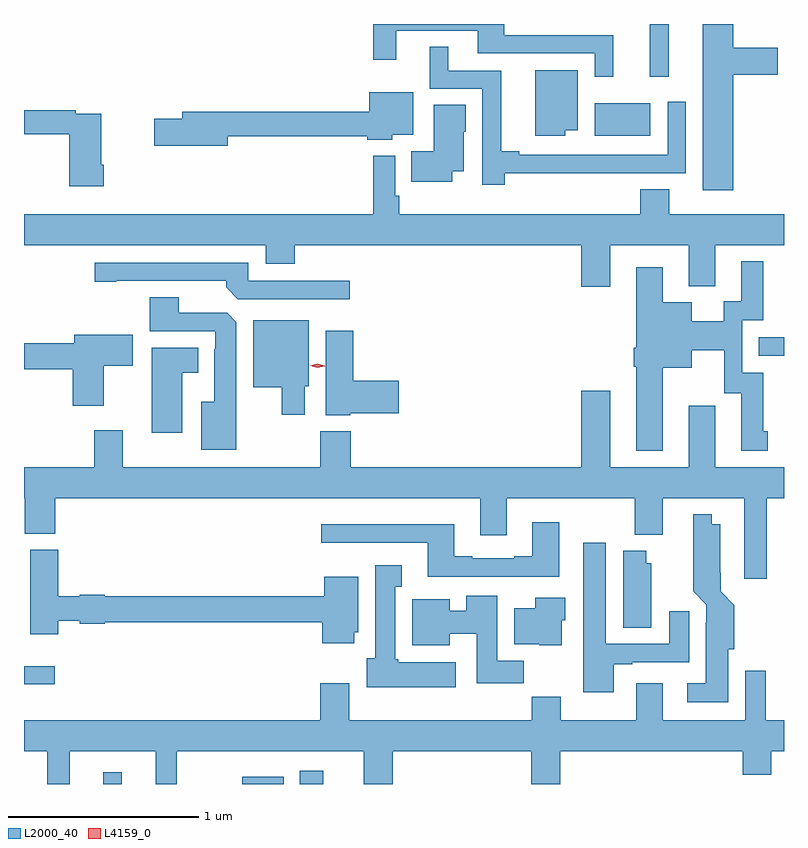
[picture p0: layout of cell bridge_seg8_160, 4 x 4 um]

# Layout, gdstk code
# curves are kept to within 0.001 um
import gdstk
lib = gdstk.Library(unit=1e-6, precision=1e-09)
def R(c, l, rs):  # rectangles x0, y0, x1, y1
    for r in rs: c.add(gdstk.rectangle(r[:2], r[2:], *l))
def P(c, l, *ps):  # polygons
    for p in ps: c.add(gdstk.Polygon(p, *l))
L2000_40 = (2000, 40)
L4159_0 = (4159, 0)

bridge_seg8_160 = lib.new_cell('bridge_seg8_160')
R(bridge_seg8_160, L2000_40, [(531.59,1146.964,531.687,1147.027), (532.321,1146.964,532.54,1147.003), (532.625,1146.964,532.747,1147.033), (531.173,1147.488,531.334,1147.584), (535.039,1149.219,535.173,1149.315), (534.176,1150.376,534.469,1150.546), (534.467,1150.686,534.566,1150.964)])
P(bridge_seg8_160, L2000_40, [(534.275,1150.905),(533.701,1150.905),(533.701,1150.964),(533.01,1150.964),(533.01,1150.776),(533.131,1150.776),(533.131,1150.928),(533.561,1150.928),(533.561,1150.809),(534.177,1150.809),(534.177,1150.686),(534.275,1150.686)],
  [(534.905,1150.697),(535.141,1150.697),(535.141,1150.839),(534.905,1150.839),(534.905,1150.964),(534.746,1150.964),(534.746,1150.089),(534.905,1150.089)],
  [(533.702,1150.178),(534.332,1150.178),(534.332,1150.179),(534.657,1150.179),(534.657,1150.555),(534.561,1150.555),(534.561,1150.275),(533.779,1150.275),(533.779,1150.295),(533.684,1150.295),(533.684,1150.719),(533.407,1150.719),(533.407,1150.843),(533.309,1150.843),(533.309,1150.623),(533.586,1150.623),(533.586,1150.119),(533.702,1150.119)],
  [(534.022,1150.406),(534.088,1150.406),(534.088,1150.72),(533.864,1150.72),(533.864,1150.376),(534.022,1150.376)],
  [(532.246,1150.374),(532.979,1150.374),(532.979,1150.355),(533.112,1150.355),(533.112,1150.382),(533.221,1150.382),(533.221,1150.606),(532.991,1150.606),(532.991,1150.502),(532.007,1150.502),(532.007,1150.466),(531.858,1150.466),(531.858,1150.324),(532.246,1150.324)],
  [(533.428,1150.19),(533.488,1150.19),(533.488,1150.398),(533.497,1150.398),(533.497,1150.538),(533.33,1150.538),(533.33,1150.294),(533.212,1150.294),(533.212,1150.133),(533.428,1150.133)],
  [(531.593,1150.222),(531.58,1150.222),(531.58,1150.491),(531.446,1150.491),(531.446,1150.511),(531.173,1150.511),(531.173,1150.383),(531.41,1150.383),(531.41,1150.11),(531.593,1150.11)],
  [(534.259,1149.8),(534.671,1149.8),(534.671,1149.584),(534.811,1149.584),(534.811,1149.8),(535.173,1149.8),(535.173,1149.964),(534.568,1149.964),(534.568,1150.094),(534.416,1150.094),(534.416,1149.964),(533.147,1149.964),(533.147,1150.06),(533.127,1150.06),(533.127,1150.27),(533.011,1150.27),(533.011,1149.964),(531.173,1149.964),(531.173,1149.8),(532.445,1149.8),(532.445,1149.701),(532.598,1149.701),(532.598,1149.8),(534.107,1149.8),(534.107,1149.582),(534.259,1149.582)],
  [(534.535,1149.155),(534.688,1149.155),(534.688,1149.248),(534.858,1149.248),(534.858,1149.021),(534.947,1149.021),(534.947,1148.718),(535.087,1148.718),(535.087,1148.82),(535.063,1148.82),(535.063,1149.129),(534.954,1149.129),(534.954,1149.405),(535.063,1149.405),(535.063,1149.715),(534.947,1149.715),(534.947,1149.506),(534.857,1149.506),(534.857,1149.4),(534.688,1149.4),(534.688,1149.499),(534.535,1149.499),(534.535,1149.685),(534.395,1149.685),(534.395,1149.259),(534.383,1149.259),(534.383,1149.159),(534.395,1149.159),(534.395,1148.717),(534.535,1148.717)],
  [(532.888,1149.612),(532.353,1149.612),(532.353,1149.708),(531.546,1149.708),(531.546,1149.607),(531.658,1149.607),(531.658,1149.612),(532.238,1149.612),(532.238,1149.578),(532.299,1149.516),(532.888,1149.516)],
  [(532.291,1149.395),(532.242,1149.444),(531.988,1149.444),(531.988,1149.527),(531.836,1149.527),(531.836,1149.348),(532.179,1149.348),(532.179,1149.251),(532.175,1149.251),(532.175,1148.977),(532.106,1148.977),(532.106,1148.723),(532.291,1148.723)],
  [(532.651,1149.057),(532.672,1149.057),(532.672,1149.406),(532.379,1149.406),(532.379,1149.053),(532.529,1149.053),(532.529,1148.907),(532.651,1148.907)],
  [(532.89,1148.915),(533.146,1148.915),(533.146,1149.086),(532.907,1149.086),(532.907,1149.349),(532.76,1149.349),(532.76,1148.906),(532.89,1148.906)],
  [(531.592,1149.166),(531.745,1149.166),(531.745,1149.328),(531.437,1149.328),(531.437,1149.284),(531.173,1149.284),(531.173,1149.148),(531.43,1149.148),(531.43,1148.955),(531.592,1148.955)],
  [(532.006,1149.128),(532.09,1149.128),(532.09,1149.259),(531.845,1149.259),(531.845,1148.814),(532.006,1148.814)],
  [(535.083,1148.468),(535.173,1148.468),(535.173,1148.632),(534.811,1148.632),(534.811,1148.956),(534.671,1148.956),(534.671,1148.632),(534.259,1148.632),(534.259,1149.034),(534.107,1149.034),(534.107,1148.632),(532.892,1148.632),(532.892,1148.821),(532.732,1148.821),(532.732,1148.632),(531.694,1148.632),(531.694,1148.827),(531.542,1148.827),(531.542,1148.632),(531.173,1148.632),(531.173,1148.468),(531.178,1148.468),(531.178,1148.281),(531.338,1148.281),(531.338,1148.468),(533.573,1148.468),(533.573,1148.274),(533.713,1148.274),(533.713,1148.468),(534.388,1148.468),(534.388,1148.276),(534.535,1148.276),(534.535,1148.468),(534.965,1148.468),(534.965,1148.043),(535.083,1148.043)],
  [(534.88,1147.674),(534.911,1147.674),(534.911,1147.906),(534.839,1147.978),(534.838,1148.332),(534.793,1148.332),(534.793,1148.383),(534.696,1148.383),(534.695,1147.978),(534.765,1147.908),(534.765,1147.814),(534.761,1147.814),(534.761,1147.495),(534.663,1147.495),(534.663,1147.394),(534.88,1147.394)],
  [(533.989,1148.341),(533.849,1148.341),(533.849,1148.164),(533.753,1148.164),(533.753,1148.151),(533.533,1148.151),(533.533,1148.164),(533.437,1148.164),(533.437,1148.332),(532.737,1148.332),(532.737,1148.235),(533.297,1148.235),(533.297,1148.055),(533.989,1148.055)],
  [(534.277,1147.593),(534.373,1147.593),(534.373,1147.605),(534.673,1147.605),(534.673,1147.873),(534.569,1147.873),(534.569,1147.701),(534.235,1147.701),(534.235,1148.233),(534.116,1148.233),(534.116,1147.446),(534.277,1147.446)],
  [(532.912,1147.764),(532.933,1147.764),(532.933,1148.056),(532.754,1148.056),(532.754,1147.952),(531.597,1147.952),(531.597,1147.96),(531.467,1147.96),(531.467,1147.953),(531.353,1147.953),(531.353,1148.196),(531.206,1148.196),(531.206,1147.752),(531.353,1147.752),(531.353,1147.823),(531.467,1147.823),(531.467,1147.808),(531.597,1147.808),(531.597,1147.816),(532.742,1147.816),(532.742,1147.704),(532.912,1147.704)],
  [(534.475,1148.127),(534.448,1148.127),(534.448,1148.191),(534.326,1148.191),(534.326,1147.786),(534.475,1147.786)],
  [(533.446,1147.606),(533.142,1147.606),(533.142,1147.62),(533.128,1147.62),(533.128,1148.003),(533.161,1148.003),(533.161,1148.116),(533.021,1148.116),(533.021,1147.626),(532.976,1147.626),(532.976,1147.472),(533.446,1147.472)],
  [(533.804,1147.612),(533.665,1147.612),(533.665,1147.954),(533.501,1147.954),(533.501,1147.876),(533.413,1147.876),(533.413,1147.936),(533.216,1147.936),(533.216,1147.694),(533.413,1147.694),(533.413,1147.754),(533.555,1147.754),(533.555,1147.494),(533.804,1147.494)],
  [(534.004,1147.827),(534.022,1147.827),(534.022,1147.945),(533.864,1147.945),(533.864,1147.888),(533.753,1147.888),(533.753,1147.7),(533.886,1147.7),(533.886,1147.694),(534.004,1147.694)],
  [(531.413,1147.136),(531.866,1147.136),(531.866,1146.964),(531.976,1146.964),(531.976,1147.136),(532.961,1147.136),(532.961,1146.964),(533.114,1146.964),(533.114,1147.136),(533.843,1147.136),(533.843,1146.964),(533.995,1146.964),(533.995,1147.136),(534.955,1147.136),(534.955,1147.012),(535.107,1147.012),(535.107,1147.136),(535.173,1147.136),(535.173,1147.3),(535.078,1147.3),(535.078,1147.561),(534.969,1147.561),(534.969,1147.3),(534.535,1147.3),(534.535,1147.495),(534.395,1147.495),(534.395,1147.3),(533.997,1147.3),(533.997,1147.424),(533.845,1147.424),(533.845,1147.3),(532.885,1147.3),(532.885,1147.495),(532.733,1147.495),(532.733,1147.3),(531.173,1147.3),(531.173,1147.136),(531.295,1147.136),(531.295,1146.964),(531.413,1146.964)])
P(bridge_seg8_160, L4159_0, [(532.717,1149.155),(532.679,1149.166),(532.678,1149.166),(532.679,1149.166),(532.717,1149.175),(532.755,1149.165),(532.755,1149.164),(532.755,1149.164)])

lib.write_gds('bridge_seg8_160.gds')
